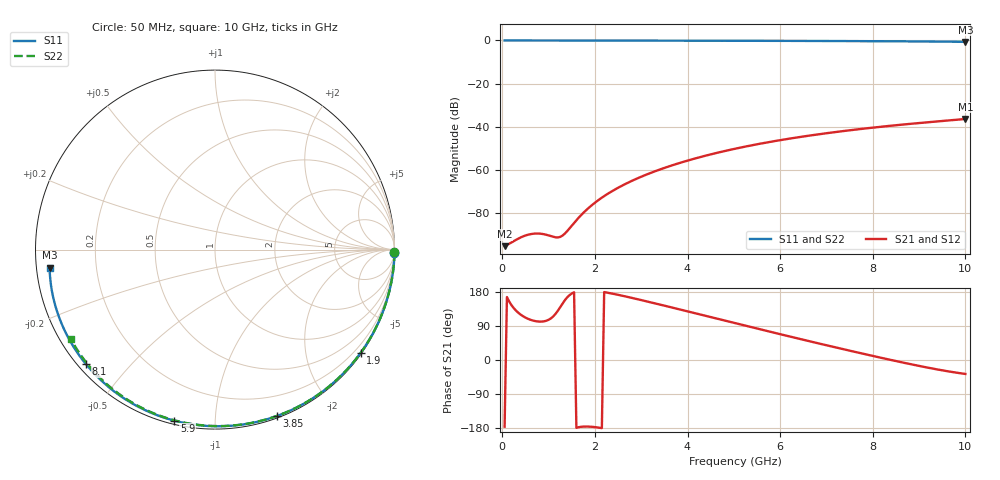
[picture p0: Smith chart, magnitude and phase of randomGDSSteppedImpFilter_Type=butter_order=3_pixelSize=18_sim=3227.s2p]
! freq	dB(S11)	phase(S11)	dB(S12)	phase(S12)
!  dB(S21)	phase(S21)	dB(S22)	phase(S22)
!S-par simulation data
#  GHz  S  DB  R 50
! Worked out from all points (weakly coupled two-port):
!   200 points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, 50 MHz to 10 GHz, reference 50 ohm
!   highest |S21| = -36.48 dB at 10 GHz (marker M1); lowest = -95.6 dB at 50 MHz (marker M2)
!   lowest |S11| = -0.7 dB at 10 GHz (marker M3), VSWR 26.35, Z = 1.9 - j2.71 ohm
!   |S11| at or under -10 dB: nowhere
!   |S22| runs from -0.5 to 0.0 dB; largest |S21 - S12| = 0
!   S11 on the Smith chart (normalised r, x): 50 MHz: open; 1.9 GHz: 0.03, -3.13; 3.85 GHz: 0.02, -1.44; 5.9 GHz: 0.02, -0.79; 8.1 GHz: 0.02, -0.38; 10 GHz: 0.04, -0.05
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0.05  -0.00 -0.9  -95.56 -176.0  -95.56 -176.0  -0.00 -0.9
0.45  -0.01 -8.5  -91.01 115.4  -91.01 115.4  -0.01 -7.7
0.85  -0.02 -16.0  -89.83 101.4  -89.83 101.4  -0.02 -14.6
1.3  -0.03 -24.4  -90.66 149.0  -90.66 149.0  -0.03 -22.2
1.75  -0.04 -32.6  -80.08 -175.8  -80.08 -175.8  -0.04 -29.7
1.9  -0.04 -35.4  -77.13 -176.0  -77.13 -176.0  -0.04 -32.1
2.05  -0.05 -38.1  -74.57 -177.9  -74.57 -177.9  -0.04 -34.6
2.2  -0.05 -40.8  -72.30 179.3  -72.30 179.3  -0.05 -37.1
2.55  -0.06 -47.1  -67.86 170.7  -67.86 170.7  -0.05 -42.8
2.95  -0.07 -54.2  -63.76 159.6  -63.76 159.6  -0.06 -49.2
3.4  -0.08 -62.0  -59.97 146.4  -59.97 146.4  -0.07 -56.3
3.85  -0.09 -69.7  -56.77 132.9  -56.77 132.9  -0.09 -63.3
4.45  -0.11 -79.8  -53.19 114.8  -53.19 114.8  -0.10 -72.4
5.05  -0.14 -89.7  -50.19 96.6  -50.19 96.6  -0.12 -81.3
5.9  -0.18 -103.3  -46.68 71.1  -46.68 71.1  -0.16 -93.4
6.7  -0.23 -116.0  -43.99 47.6  -43.99 47.6  -0.20 -104.5
7.4  -0.28 -127.1  -41.99 27.5  -41.99 27.5  -0.25 -114.0
8.1  -0.34 -138.4  -40.26 8.0  -40.26 8.0  -0.30 -123.3
8.35  -0.37 -142.5  -39.70 1.2  -39.70 1.2  -0.32 -126.6
9.25  -0.49 -158.3  -37.88 -21.6  -37.88 -21.6  -0.41 -138.4
9.65  -0.56 -166.1  -37.13 -30.4  -37.13 -30.4  -0.45 -143.7
10  -0.66 -173.8  -36.48 -36.8  -36.48 -36.8  -0.49 -148.3
